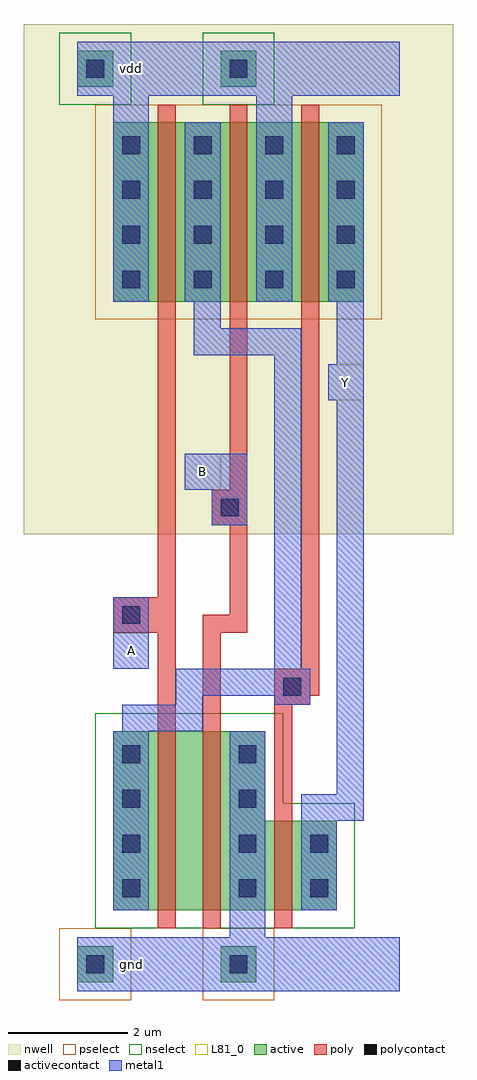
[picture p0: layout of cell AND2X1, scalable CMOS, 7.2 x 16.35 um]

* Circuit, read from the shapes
.subckt AND2X1 A B Y gnd vdd
M1 n1 A n2 gnd nfet w=3u l=0.3u
M2 gnd B n1 gnd nfet w=3u l=0.3u
M3 Y n2 gnd gnd nfet w=1.5u l=0.3u
M4 n2 A vdd vdd pfet w=3u l=0.3u
M5 vdd B n2 vdd pfet w=3u l=0.3u
M6 Y n2 vdd vdd pfet w=3u l=0.3u
.ends

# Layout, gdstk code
import gdstk
lib = gdstk.Library(unit=1e-6, precision=1e-09)
def R(c, l, rs):  # rectangles x0, y0, x1, y1
    for r in rs: c.add(gdstk.rectangle(r[:2], r[2:], *l))
def A(c, l, x, y, w, h, nx, ny, dx, dy):  # array of equal rectangles
    R(c, l, [(x+i*dx, y+j*dy, x+i*dx+w, y+j*dy+h) for i in range(nx) for j in range(ny)])
nwell = (42, 0)
active = (43, 0)
pselect = (44, 0)
nselect = (45, 0)
poly = (46, 0)
polycontact = (47, 0)
activecontact = (48, 0)
metal1 = (49, 0)
L81_0 = (81, 0)

and2x1 = lib.new_cell('AND2X1')
R(and2x1, nwell, [(-1.2,7.2,6,15.75)])
R(and2x1, active, [(-0.3,-0.3,0.3,0.3), (2.1,-0.3,2.7,0.3), (0.3,0.9,4.05,2.4), (0.3,2.4,2.85,3.9), (0.3,11.1,4.5,14.1), (-0.3,14.7,0.3,15.3), (2.1,14.7,2.7,15.3)])
R(and2x1, pselect, [(-0.6,-0.6,0.6,0.6), (1.8,-0.6,3,0.6), (0,10.8,4.8,14.4)])
R(and2x1, nselect, [(0,0.6,4.35,2.7), (0,2.7,3.15,4.2), (-0.6,14.4,0.6,15.6), (1.8,14.4,3,15.6)])
R(and2x1, poly, [(1.05,0.6,1.35,5.55), (1.8,0.6,2.1,5.55), (3,0.6,3.3,4.35), (3,4.35,3.6,4.5), (3,4.5,3.75,4.95), (3.45,4.95,3.75,14.4), (0.3,5.55,1.35,6.15), (1.8,5.55,2.55,5.85), (2.25,5.85,2.55,7.35), (1.05,6.15,1.35,14.4), (1.95,7.35,2.55,7.95), (2.25,7.95,2.55,14.4)])
R(and2x1, polycontact, [(3.15,4.5,3.45,4.8), (0.45,5.7,0.75,6), (2.1,7.5,2.4,7.8)])
A(and2x1, activecontact, 0.45, 1.12, 0.3, 0.3, 1, 4, 0, 0.75)
A(and2x1, activecontact, 2.4, 1.12, 0.3, 0.3, 1, 4, 0, 0.75)
A(and2x1, activecontact, 0.45, 11.32, 0.3, 0.3, 4, 4, 1.2, 0.75)
R(and2x1, activecontact, [(-0.15,-0.15,0.15,0.15), (2.25,-0.15,2.55,0.15), (3.6,1.12,3.9,1.42), (3.6,1.87,3.9,2.17), (-0.15,14.85,0.15,15.15), (2.25,14.85,2.55,15.15)])
R(and2x1, metal1, [(-0.3,-0.45,5.1,0.45), (2.25,0.45,2.85,3.9), (0.3,0.9,0.9,3.9), (3.45,0.9,4.05,2.4), (3.45,2.4,4.5,2.85), (4.05,2.85,4.5,9.45), (0.45,3.9,1.8,4.35), (1.35,4.35,1.8,4.5), (3,4.35,3.6,4.5), (1.35,4.5,3.6,4.95), (0.3,4.95,0.9,6.15), (3,4.95,3.45,10.2), (1.95,7.35,2.55,7.95), (1.5,7.95,2.55,8.55), (3.9,9.45,4.5,10.05), (4.05,10.05,4.5,11.1), (1.65,10.2,3.45,10.65), (1.65,10.65,2.1,11.1), (0.3,11.1,0.9,14.55), (1.5,11.1,2.1,14.1), (2.7,11.1,3.3,14.55), (3.9,11.1,4.5,14.1), (-0.3,14.55,5.1,15.45)])
R(and2x1, L81_0, [(0.3,4.95,0.9,5.55), (1.5,7.95,2.1,8.55), (3.9,9.45,4.5,10.05)])
and2x1.add(gdstk.Label('Y', (4.2,9.75), layer=109, texttype=0))
and2x1.add(gdstk.Label('B', (1.8,8.25), layer=109, texttype=0))
and2x1.add(gdstk.Label('vdd', (0.6,15), layer=109, texttype=0))
and2x1.add(gdstk.Label('gnd', (0.6,0), layer=109, texttype=0))
and2x1.add(gdstk.Label('A', (0.6,5.25), layer=109, texttype=0))

lib.write_gds('AND2X1.gds')
